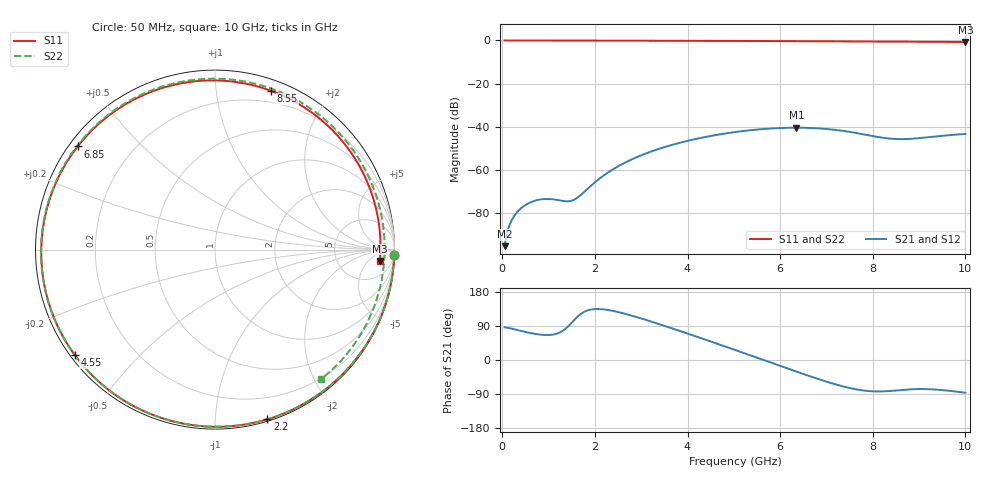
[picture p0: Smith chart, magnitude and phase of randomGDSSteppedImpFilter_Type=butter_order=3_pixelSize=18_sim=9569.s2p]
! freq	dB(S11)	phase(S11)	dB(S12)	phase(S12)
!  dB(S21)	phase(S21)	dB(S22)	phase(S22)
!S-par simulation data
#  GHz  S  DB  R 50
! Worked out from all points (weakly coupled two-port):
!   200 points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, 50 MHz to 10 GHz, reference 50 ohm
!   highest |S21| = -40.53 dB at 6.35 GHz (marker M1); lowest = -95.5 dB at 50 MHz (marker M2)
!   lowest |S11| = -0.7 dB at 10 GHz (marker M3), VSWR 24.24, Z = 713 - j596 ohm
!   |S11| at or under -10 dB: nowhere
!   |S22| runs from -0.6 to 0.0 dB; largest |S21 - S12| = 0
!   S11 on the Smith chart (normalised r, x): 50 MHz: 1, -66; 2.2 GHz: 0.01, -1.36; 4.55 GHz: 0.01, -0.33; 6.85 GHz: 0.02, +0.33; 8.55 GHz: 0.10, +1.41; 10 GHz: 14, -12
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0.05  -0.01 -1.7  -95.54 86.0  -95.54 86.0  -0.00 -1.8
0.3  -0.01 -10.3  -80.27 79.8  -80.27 79.8  -0.01 -10.9
0.55  -0.02 -18.8  -75.81 72.6  -75.81 72.6  -0.02 -19.9
0.8  -0.03 -27.3  -73.94 67.2  -73.94 67.2  -0.03 -28.9
1.5  -0.06 -50.4  -74.41 98.6  -74.41 98.6  -0.07 -53.6
1.75  -0.07 -58.5  -70.73 125.8  -70.73 125.8  -0.08 -62.4
2.2  -0.09 -72.8  -62.56 133.4  -62.56 133.4  -0.10 -77.9
2.8  -0.11 -91.3  -55.19 116.9  -55.19 116.9  -0.13 -98.6
3.4  -0.14 -109.3  -50.23 94.2  -50.23 94.2  -0.16 -119.2
4.55  -0.20 -143.2  -44.16 46.8  -44.16 46.8  -0.23 -160.0
5.05  -0.23 -158.0  -42.47 25.5  -42.47 25.5  -0.27 -179.0
5.7  -0.28 -178.0  -41.04 -2.7  -41.04 -2.7  -0.32 154.4
6.35  -0.33 160.7  -40.53 -30.8  -40.53 -30.8  -0.38 125.3
6.7  -0.37 148.5  -40.69 -45.4  -40.69 -45.4  -0.40 108.5
6.85  -0.38 143.1  -40.86 -51.4  -40.86 -51.4  -0.41 101.0
7.2  -0.42 129.8  -41.55 -64.5  -41.55 -64.5  -0.43 83.3
7.55  -0.45 115.8  -42.64 -75.2  -42.64 -75.2  -0.44 65.1
8.35  -0.53 80.2  -45.55 -82.0  -45.55 -82.0  -0.47 23.6
8.55  -0.55 70.6  -45.81 -79.9  -45.81 -79.9  -0.48 13.6
8.95  -0.59 50.7  -45.47 -76.7  -45.47 -76.7  -0.50 -5.7
9.35  -0.63 30.0  -44.61 -78.0  -44.61 -78.0  -0.53 -23.9
10  -0.72 -4.0  -43.43 -86.4  -43.43 -86.4  -0.61 -50.9
